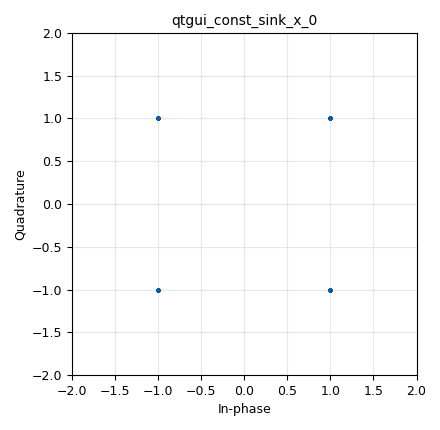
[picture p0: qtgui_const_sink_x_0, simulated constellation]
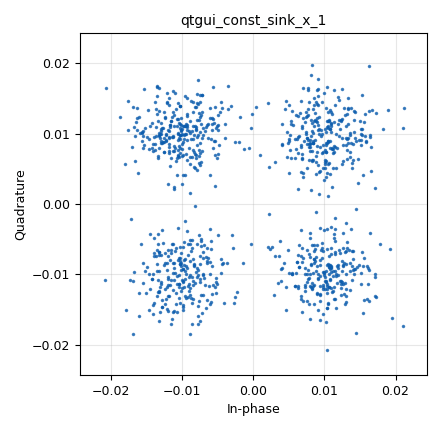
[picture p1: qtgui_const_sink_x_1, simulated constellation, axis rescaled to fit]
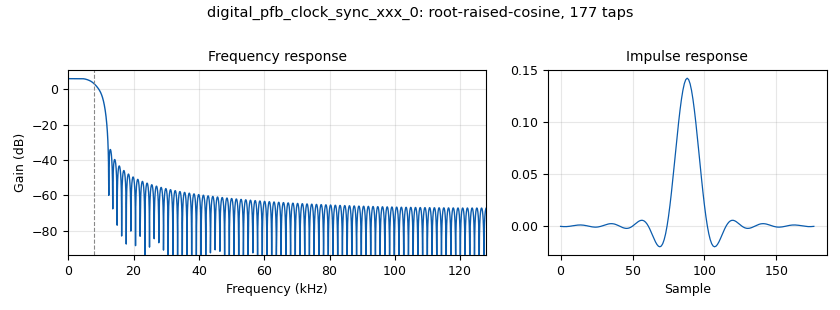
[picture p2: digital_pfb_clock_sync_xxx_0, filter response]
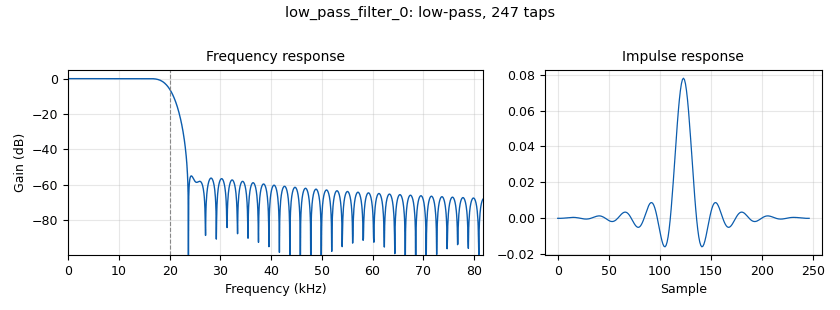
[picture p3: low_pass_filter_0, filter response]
options:
  parameters:
    author: rohan
    generate_options: qt_gui
    id: part5
    output_language: python
    title: Not titled yet
  states: {}

blocks:
- name: a1
  id: variable_qtgui_range
  parameters:
    start: '0'
    step: '0.1'
    stop: '1'
    value: '0.5'
  states: {}
- name: a2
  id: variable_qtgui_range
  parameters:
    start: '0'
    step: '0.1'
    stop: '1'
    value: '0.25'
  states: {}
- name: a3
  id: variable_qtgui_range
  parameters:
    start: '0'
    step: '0.1'
    stop: '1'
    value: '0.125'
  states: {}
- name: a4
  id: variable_qtgui_range
  parameters:
    start: '0'
    step: '0.1'
    stop: '1'
    value: '0.0625'
  states: {}
- name: quad_rate
  id: variable
  parameters:
    value: '512000'
  states: {}
- name: samp_rate
  id: variable
  parameters:
    value: '32000'
  states: {}
- name: sps
  id: variable
  parameters:
    value: '16'
  states: {}
- name: symb_rate
  id: variable
  parameters:
    value: '16000'
  states: {}
- name: analog_noise_source_x_0
  id: analog_noise_source_x
  parameters:
    amp: '0.1'
    noise_type: analog.GR_GAUSSIAN
    seed: '0'
    type: float
  states: {}
- name: analog_random_source_x_0
  id: analog_random_source_x
  parameters:
    max: '4'
    min: '0'
    num_samps: '1000'
    repeat: 'True'
    type: byte
  states: {}
- name: analog_sig_source_x_1
  id: analog_sig_source_x
  parameters:
    amp: '1'
    freq: '100000'
    offset: '0'
    phase: '0'
    samp_rate: quad_rate
    type: float
    waveform: analog.GR_COS_WAVE
  states: {}
- name: analog_sig_source_x_1_0
  id: analog_sig_source_x
  parameters:
    amp: '-1'
    freq: '100000'
    offset: '0'
    phase: '0'
    samp_rate: quad_rate
    type: float
    waveform: analog.GR_SIN_WAVE
  states: {}
- name: analog_sig_source_x_2
  id: analog_sig_source_x
  parameters:
    amp: '1'
    freq: '100000'
    offset: '0'
    phase: '0'
    samp_rate: quad_rate
    type: complex
    waveform: analog.GR_COS_WAVE
  states: {}
- name: blocks_add_xx_0
  id: blocks_add_xx
  parameters:
    num_inputs: '3'
    type: float
  states: {}
- name: blocks_add_xx_1
  id: blocks_add_xx
  parameters:
    num_inputs: '5'
    type: float
  states: {}
- name: blocks_complex_to_real_0
  id: blocks_complex_to_real
  parameters: {}
  states: {}
- name: blocks_delay_0
  id: blocks_delay
  parameters:
    delay: '32'
    type: float
  states: {}
- name: blocks_delay_1
  id: blocks_delay
  parameters:
    delay: '64'
    type: float
  states: {}
- name: blocks_delay_1_0
  id: blocks_delay
  parameters:
    delay: '32'
    type: float
  states: {}
- name: blocks_delay_1_0_0
  id: blocks_delay
  parameters:
    delay: '96'
    type: float
  states: {}
- name: blocks_delay_1_0_0_0
  id: blocks_delay
  parameters:
    delay: '128'
    type: float
  states: {}
- name: blocks_float_to_complex_0
  id: blocks_float_to_complex
  parameters: {}
  states: {}
- name: blocks_multiply_const_vxx_0
  id: blocks_multiply_const_vxx
  parameters:
    const: '0.5'
    type: float
  states: {}
- name: blocks_multiply_const_vxx_1
  id: blocks_multiply_const_vxx
  parameters:
    const: '-1*a1'
    type: float
  states: {}
- name: blocks_multiply_const_vxx_1_0
  id: blocks_multiply_const_vxx
  parameters:
    const: a2
    type: float
  states: {}
- name: blocks_multiply_const_vxx_1_0_0
  id: blocks_multiply_const_vxx
  parameters:
    const: '-1*a3'
    type: float
  states: {}
- name: blocks_multiply_const_vxx_1_0_0_0
  id: blocks_multiply_const_vxx
  parameters:
    const: a4
    type: float
  states: {}
- name: blocks_multiply_xx_0
  id: blocks_multiply_xx
  parameters:
    type: complex
  states: {}
- name: blocks_multiply_xx_1
  id: blocks_multiply_xx
  parameters:
    type: float
  states: {}
- name: blocks_multiply_xx_1_0
  id: blocks_multiply_xx
  parameters:
    type: float
  states: {}
- name: digital_chunks_to_symbols_xx_0
  id: digital_chunks_to_symbols_xx
  parameters:
    dimension: '1'
    in_type: byte
    out_type: complex
    symbol_table: ((-1-1j),(-1+1j),(1+1j),(1-1j))
  states: {}
- name: digital_pfb_clock_sync_xxx_0
  id: digital_pfb_clock_sync_xxx
  parameters:
    filter_size: '32'
    init_phase: '16'
    loop_bw: 2*math.pi/100
    max_dev: '1.5'
    osps: '1'
    sps: sps
    taps: firdes.root_raised_cosine(2,sps*symb_rate,symb_rate,0.5,11*sps)
    type: ccf
  states: {}
- name: fir_filter_xxx_0
  id: fir_filter_xxx
  parameters:
    decim: sps
    taps: '1'
    type: ccc
  states: {state: bypassed}
- name: import_0
  id: import
  parameters:
    imports: import math
  states: {}
- name: interp_fir_filter_xxx_0
  id: interp_fir_filter_xxx
  parameters:
    interp: sps
    taps: '1'
    type: ccc
  states: {state: bypassed}
- name: low_pass_filter_0
  id: low_pass_filter
  parameters:
    cutoff_freq: '20000'
    gain: '1'
    interp: '1'
    samp_rate: quad_rate
    type: interp_fir_filter_fff
    width: '5000'
    win: window.WIN_HAMMING
  states: {}
- name: low_pass_filter_0_0
  id: low_pass_filter
  parameters:
    cutoff_freq: '20000'
    gain: '1'
    interp: '1'
    samp_rate: quad_rate
    type: interp_fir_filter_fff
    width: '5000'
    win: window.WIN_HAMMING
  states: {}
- name: pfb_arb_resampler_xxx_0
  id: pfb_arb_resampler_xxx
  parameters:
    atten: '100'
    nfilts: '32'
    rrate: sps
    taps: firdes.root_raised_cosine(2,sps*symb_rate,symb_rate,0.5,11*sps)
    type: ccf
  states: {}
- name: qtgui_const_sink_x_0
  id: qtgui_const_sink_x
  parameters:
    gui_hint: tabs@1
    size: '1024'
    type: complex
  states: {}
- name: qtgui_const_sink_x_1
  id: qtgui_const_sink_x
  parameters:
    gui_hint: tabs@0
    size: '1024'
    type: complex
  states: {}
- name: rational_resampler_xxx_0
  id: rational_resampler_xxx
  parameters:
    decim: symb_rate*sps
    interp: quad_rate
    type: ccc
  states: {}
- name: rational_resampler_xxx_1
  id: rational_resampler_xxx
  parameters:
    decim: quad_rate
    interp: symb_rate*sps
    type: ccc
  states: {}
- name: tabs
  id: qtgui_tab_widget
  parameters:
    label0: Tab 0
    label1: Tab 1
    num_tabs: '2'
  states: {}
- name: virtual_sink_0
  id: virtual_sink
  parameters:
    stream_id: mod_stream
  states: {}
- name: virtual_sink_0_0
  id: virtual_sink
  parameters:
    stream_id: equalization
  states: {}
- name: virtual_sink_1
  id: virtual_sink
  parameters:
    stream_id: demod_stream
  states: {}
- name: virtual_source_0
  id: virtual_source
  parameters:
    stream_id: mod_stream
  states: {}
- name: virtual_source_1
  id: virtual_source
  parameters:
    stream_id: demod_stream
  states: {}
- name: virtual_source_2
  id: virtual_source
  parameters:
    stream_id: equalization
  states: {}

connections:
- [analog_noise_source_x_0, '0', blocks_add_xx_0, '2']
- [analog_random_source_x_0, '0', digital_chunks_to_symbols_xx_0, '0']
- [analog_sig_source_x_1, '0', blocks_multiply_xx_1, '0']
- [analog_sig_source_x_1_0, '0', blocks_multiply_xx_1_0, '1']
- [analog_sig_source_x_2, '0', blocks_multiply_xx_0, '0']
- [blocks_add_xx_0, '0', blocks_add_xx_1, '0']
- [blocks_add_xx_0, '0', blocks_delay_1, '0']
- [blocks_add_xx_0, '0', blocks_delay_1_0, '0']
- [blocks_add_xx_0, '0', blocks_delay_1_0_0, '0']
- [blocks_add_xx_0, '0', blocks_delay_1_0_0_0, '0']
- [blocks_add_xx_1, '0', virtual_sink_0_0, '0']
- [blocks_complex_to_real_0, '0', virtual_sink_0, '0']
- [blocks_delay_0, '0', blocks_multiply_const_vxx_0, '0']
- [blocks_delay_1, '0', blocks_multiply_const_vxx_1_0, '0']
- [blocks_delay_1_0, '0', blocks_multiply_const_vxx_1, '0']
- [blocks_delay_1_0_0, '0', blocks_multiply_const_vxx_1_0_0, '0']
- [blocks_delay_1_0_0_0, '0', blocks_multiply_const_vxx_1_0_0_0, '0']
- [blocks_float_to_complex_0, '0', rational_resampler_xxx_1, '0']
- [blocks_multiply_const_vxx_0, '0', blocks_add_xx_0, '0']
- [blocks_multiply_const_vxx_1, '0', blocks_add_xx_1, '1']
- [blocks_multiply_const_vxx_1_0, '0', blocks_add_xx_1, '2']
- [blocks_multiply_const_vxx_1_0_0, '0', blocks_add_xx_1, '3']
- [blocks_multiply_const_vxx_1_0_0_0, '0', blocks_add_xx_1, '4']
- [blocks_multiply_xx_0, '0', blocks_complex_to_real_0, '0']
- [blocks_multiply_xx_1, '0', low_pass_filter_0, '0']
- [blocks_multiply_xx_1_0, '0', low_pass_filter_0_0, '0']
- [digital_chunks_to_symbols_xx_0, '0', interp_fir_filter_xxx_0, '0']
- [digital_chunks_to_symbols_xx_0, '0', qtgui_const_sink_x_0, '0']
- [digital_pfb_clock_sync_xxx_0, '0', fir_filter_xxx_0, '0']
- [fir_filter_xxx_0, '0', qtgui_const_sink_x_1, '0']
- [interp_fir_filter_xxx_0, '0', pfb_arb_resampler_xxx_0, '0']
- [low_pass_filter_0, '0', blocks_float_to_complex_0, '0']
- [low_pass_filter_0_0, '0', blocks_float_to_complex_0, '1']
- [pfb_arb_resampler_xxx_0, '0', rational_resampler_xxx_0, '0']
- [rational_resampler_xxx_0, '0', blocks_multiply_xx_0, '1']
- [rational_resampler_xxx_1, '0', virtual_sink_1, '0']
- [virtual_source_0, '0', blocks_add_xx_0, '1']
- [virtual_source_0, '0', blocks_delay_0, '0']
- [virtual_source_1, '0', digital_pfb_clock_sync_xxx_0, '0']
- [virtual_source_2, '0', blocks_multiply_xx_1, '1']
- [virtual_source_2, '0', blocks_multiply_xx_1_0, '0']

metadata:
  file_format: 1
